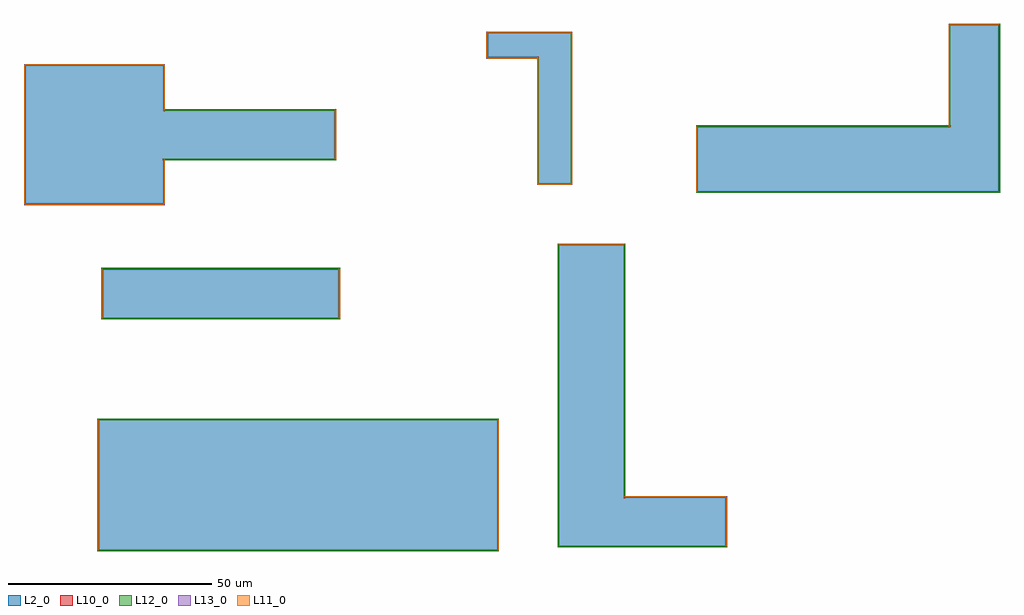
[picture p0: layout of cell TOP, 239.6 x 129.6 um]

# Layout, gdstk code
from math import pi, radians
import gdstk
lib = gdstk.Library(unit=1e-6, precision=1e-09)
def R(c, l, rs):  # rectangles x0, y0, x1, y1
    for r in rs: c.add(gdstk.rectangle(r[:2], r[2:], *l))
def P(c, l, *ps):  # polygons
    for p in ps: c.add(gdstk.Polygon(p, *l))
L2_0 = (2, 0)
L10_0 = (10, 0)
L11_0 = (11, 0)
L12_0 = (12, 0)
L13_0 = (13, 0)

c_a = lib.new_cell('A')
R(c_a, L2_0, [(0,-12,58,0)])

c_b = lib.new_cell('B')
R(c_b, L2_0, [(12,-17,20,20), (-0.5,14,20,20)])

b_var1 = lib.new_cell('B$VAR1')
R(b_var1, L10_0, [(11.9,-17.15,20.05,-16.975), (19.975,-17.1,20.15,20.05), (11.85,-17.05,12.025,14.1), (-0.6,13.85,12.05,14.025), (-0.65,13.95,-0.475,20.1), (-0.55,19.975,20.1,20.15)])
R(b_var1, L11_0, [(12,-17.15,20,-17), (-0.5,13.85,12,14), (-0.65,14,-0.5,20)])
P(b_var1, L12_0, [(11.85,-17.15),(11.85,13.85),(-0.65,13.85),(-0.65,19.975),(-0.475,19.975),(-0.475,14.025),(12.025,14.025),(12.025,-16.975),(19.975,-16.975),(19.975,19.975),(-0.65,19.975),(-0.65,20.15),(20.15,20.15),(20.15,-17.15)])
R(b_var1, L13_0, [(12,-17.15,20,-17)])
P(b_var1, L13_0, [(-0.65,13.85),(-0.65,20),(-0.5,20),(-0.5,14),(12,14),(12,13.85)])

c_c = lib.new_cell('C')
c_c.add(gdstk.Reference(c_b, (14,28), rotation=pi))
c_c.add(gdstk.Reference(b_var1, (14,28), rotation=pi))

b_1 = lib.new_cell('B$1')
R(b_1, L10_0, [(11.8,-17.3,20.1,-16.95), (19.95,-17.2,20.3,20.1), (11.7,-17.1,12.05,14.2), (-0.7,13.7,12.1,14.05), (-0.8,13.9,-0.45,20.2), (-0.6,19.95,20.2,20.3)])
R(b_1, L11_0, [(12,-17.3,20,-17), (11.7,-17,12,14), (20,-17,20.3,20), (-0.5,13.7,12,14), (-0.8,14,-0.5,20), (-0.5,20,20,20.3)])
P(b_1, L12_0, [(11.7,-17.3),(11.7,13.7),(-0.8,13.7),(-0.8,19.95),(-0.45,19.95),(-0.45,14.05),(12.05,14.05),(12.05,-16.95),(19.95,-16.95),(19.95,19.95),(-0.8,19.95),(-0.8,20.3),(20.3,20.3),(20.3,-17.3)])
P(b_1, L13_0, [(11.7,-17.3),(11.7,13.7),(-0.8,13.7),(-0.8,20),(-0.5,20),(-0.5,14),(12,14),(12,-17),(20,-17),(20,20),(-0.8,20),(-0.8,20.3),(20.3,20.3),(20.3,-17.3)])

top = lib.new_cell('TOP')
R(top, L2_0, [(-11,-15,23,19)])
R(top, L10_0, [(6.8,-100.3,105.1,-99.95), (104.95,-100.2,105.3,-67.9), (6.7,-100.1,7.05,-67.8), (6.9,-68.05,105.2,-67.7), (7.8,-43.3,66.1,-42.95), (65.95,-43.2,66.3,-30.9), (7.7,-43.1,8.05,-30.8), (7.9,-31.05,66.2,-30.7), (-11.2,-15.3,23.1,-14.95), (22.95,-15.2,23.3,-3.9), (-11.3,-15.1,-10.95,19.2), (22.8,-4.3,65.1,-3.95), (64.95,-4.2,65.3,8.1), (22.95,7.8,23.3,19.1), (22.9,7.95,65.2,8.3), (-11.1,18.95,23.2,19.3)])
R(top, L11_0, [(6.7,-100,7,-68), (105,-100,105.3,-68), (7.7,-43,8,-31), (66,-43,66.3,-31), (-11,-15.3,23,-15), (-11.3,-15,-11,19), (23,-15,23.3,-4), (65,-4,65.3,8), (23,8,23.3,19), (-11,19,23,19.3)])
P(top, L12_0, [(-11.3,-15.3),(-11.3,18.95),(-10.95,18.95),(-10.95,-14.95),(22.95,-14.95),(22.95,-3.95),(64.95,-3.95),(64.95,7.95),(22.95,7.95),(22.95,18.95),(-11.3,18.95),(-11.3,19.3),(23.3,19.3),(23.3,8.3),(65.3,8.3),(65.3,-4.3),(23.3,-4.3),(23.3,-15.3)],
  [(6.7,-100.3),(6.7,-68.05),(7.05,-68.05),(7.05,-99.95),(104.95,-99.95),(104.95,-68.05),(6.7,-68.05),(6.7,-67.7),(105.3,-67.7),(105.3,-100.3)],
  [(7.7,-43.3),(7.7,-31.05),(8.05,-31.05),(8.05,-42.95),(65.95,-42.95),(65.95,-31.05),(7.7,-31.05),(7.7,-30.7),(66.3,-30.7),(66.3,-43.3)])
R(top, L13_0, [(6.7,-100,7,-68), (105,-100,105.3,-68), (7.7,-43,8,-31), (66,-43,66.3,-31), (65,-4,65.3,8)])
P(top, L13_0, [(-11.3,-15.3),(-11.3,19.3),(23.3,19.3),(23.3,8),(23,8),(23,19),(-11,19),(-11,-15),(23,-15),(23,-4),(23.3,-4),(23.3,-15.3)])
top.add(gdstk.Reference(c_a, (7,8)))
top.add(gdstk.Reference(c_a, (8,-31)))
r = gdstk.Reference(c_a, (7,-88)); r.repetition = gdstk.Repetition(2, 5, v1=(40,0), v2=(0,5)); top.add(r)
top.add(gdstk.Reference(c_b, (103,7)))
top.add(gdstk.Reference(c_b, (160,-59), rotation=pi, magnification=2))
top.add(gdstk.Reference(c_c, (244,0), rotation=pi/2, magnification=2))
top.add(gdstk.Reference(b_1, (103,7)))
top.add(gdstk.Reference(b_var1, (160,-59), rotation=pi, magnification=2))

lib.write_gds('TOP.gds')
